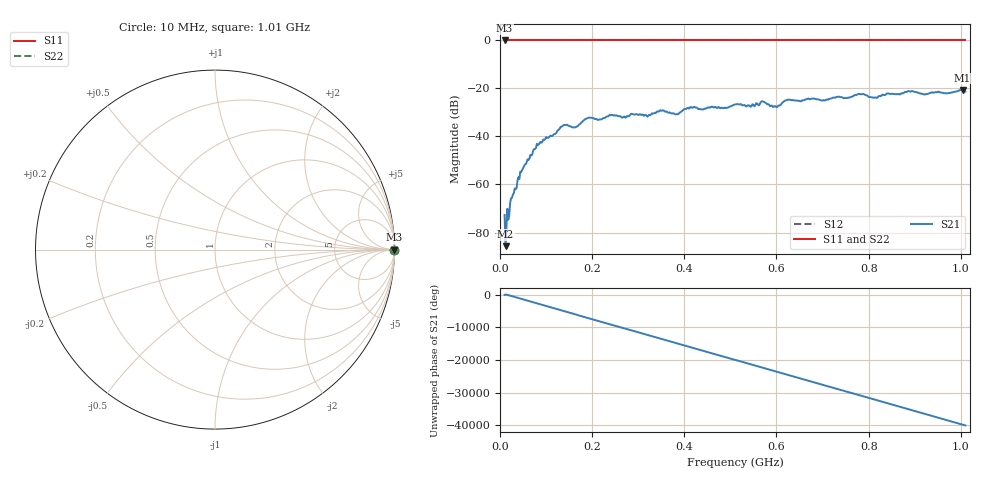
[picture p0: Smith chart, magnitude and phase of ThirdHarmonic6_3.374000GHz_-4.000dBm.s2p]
! 8/17/2025 10:42:28 AM
! C:\ANRITSUVNA\TEMP\TEMP.S2P
! CHANNEL.1
! TR.MEASUREMENT
! RAW.DATA
! RF.CORRECTION.OFF
! AVERAGING.OFF
! IF.BANDWIDTH: 5KHZ
! SWEEPTYPE:  FREQ.SWEEP(Linear)
! Reference Plane Port Info
! PORT:  PORT1  PORT2
! DISTANCE:  0  m  0  m
! TIME:  0  s  0  s
! PHASE.OFFSET:  0  deg.  0  deg.
! LOSS:  0  dB  0  dB
! REF.LOSS:  0  dB  0  dB
! REF.FREQ:  0  Hz  0  Hz
! Power Info
! POWER:  -20  dBm  -20  dBm
! EFF.POWER:  -20  dBm  -20  dBm
! SOURCE.ATTEN:  0  dB  0  dB
! TEST.ATTEN:  0  dB  0  dB
# GHZ S RI R 50.0
! FREQ.GHZ  S11RE  S11IM  S21RE  S21IM  S12RE  S12IM  S22RE  S22IM
!; PortSelection: Port_12
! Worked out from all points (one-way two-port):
!   501 points, 10 MHz to 1.01 GHz, reference 50 ohm
!   highest |S21| = -20.63 dB at 1.004 GHz (marker M1); lowest = -85.7 dB at 12 MHz (marker M2)
!   lowest |S11| = 0.0 dB at 10 MHz (marker M3)
!   |S11| at or under -10 dB: nowhere
!   |S22| runs from 0.0 to 0.0 dB; largest |S21 - S12| = 1.1
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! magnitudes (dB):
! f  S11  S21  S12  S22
! 10 MHz  0.0  -72.7  0.0  0.0
! 12 MHz  0.0  -85.7  0.0  0.0
! 16 MHz  0.0  -70.2  0.0  0.0
! 26 MHz  0.0  -65.6  0.0  0.0
! 42 MHz  0.0  -57.7  0.0  0.0
! 76 MHz  0.0  -45.2  0.0  0.0
! 136 MHz  0.0  -35.6  0.0  0.0
! 162 MHz  0.0  -36.2  0.0  0.0
! 178 MHz  0.0  -34.0  0.0  0.0
! 194 MHz  0.0  -32.1  0.0  0.0
! 322 MHz  0.0  -31.3  0.0  0.0
! 344 MHz  0.0  -29.6  0.0  0.0
! 384 MHz  0.0  -30.7  0.0  0.0
! 410 MHz  0.0  -28.4  0.0  0.0
! 510 MHz  0.0  -26.7  0.0  0.0
! 570 MHz  0.0  -25.3  0.0  0.0
! 598 MHz  0.0  -27.5  0.0  0.0
! 624 MHz  0.0  -24.7  0.0  0.0
! 678 MHz  0.0  -24.2  0.0  0.0
! 844 MHz  0.0  -22.2  0.0  0.0
! 1.004 GHz  0.0  -20.6  0.0  0.0
! 1.01 GHz  0.0  -21.3  0.0  0.0
